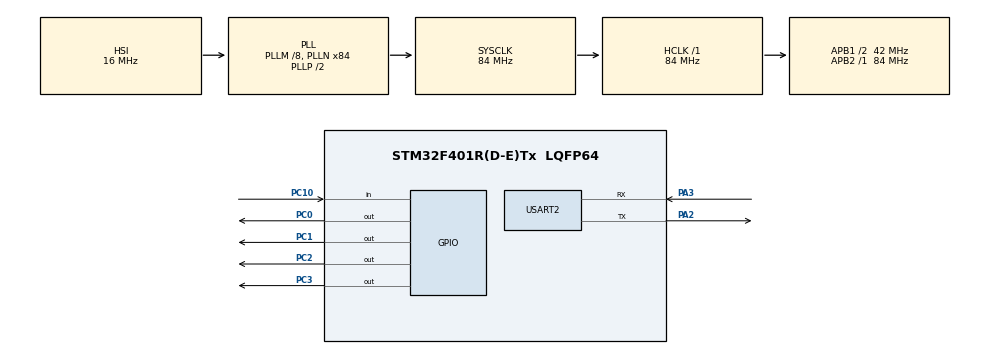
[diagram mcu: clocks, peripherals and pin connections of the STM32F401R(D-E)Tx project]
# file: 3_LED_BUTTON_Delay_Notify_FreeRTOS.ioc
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Mcu.Family=STM32F4
Mcu.Name=STM32F401R(D-E)Tx
Mcu.Package=LQFP64
NVIC.PriorityGroup=NVIC_PRIORITYGROUP_4
NVIC.TIM2_IRQn=true\:15\:0\:false\:false\:true\:false\:true\:true
NVIC.TimeBase=TIM2_IRQn
NVIC.TimeBaseIP=TIM2
PA2.Mode=Asynchronous
PA2.Signal=USART2_TX
PA3.Mode=Asynchronous
PA3.Signal=USART2_RX
PC0.GPIO_Speed=GPIO_SPEED_FREQ_VERY_HIGH
PC0.Signal=GPIO_Output
PC1.GPIO_Speed=GPIO_SPEED_FREQ_VERY_HIGH
PC1.Signal=GPIO_Output
PC10.GPIO_PuPd=GPIO_PULLDOWN
PC10.Signal=GPIO_Input
PC2.GPIO_Speed=GPIO_SPEED_FREQ_VERY_HIGH
PC2.Signal=GPIO_Output
PC3.GPIO_Speed=GPIO_SPEED_FREQ_VERY_HIGH
PC3.Signal=GPIO_Output
ProjectManager.HeapSize=0x200
ProjectManager.StackSize=0x400
ProjectManager.TargetToolchain=STM32CubeIDE
RCC.48MHZClocksFreq_Value=42000000
RCC.AHBFreq_Value=84000000
RCC.APB1CLKDivider=RCC_HCLK_DIV2
RCC.APB1Freq_Value=42000000
RCC.APB1TimFreq_Value=84000000
RCC.APB2Freq_Value=84000000
RCC.APB2TimFreq_Value=84000000
RCC.CortexFreq_Value=84000000
RCC.HCLKFreq_Value=84000000
RCC.HSE_VALUE=25000000
RCC.HSI_VALUE=16000000
RCC.LSE_VALUE=32768
RCC.PLLM=8
RCC.PLLN=84
RCC.SYSCLKFreq_VALUE=84000000
RCC.SYSCLKSource=RCC_SYSCLKSOURCE_PLLCLK
RCC.VCOOutputFreq_Value=168000000
USART2.VirtualMode=VM_ASYNC
VP_SYS_VS_tim2.Mode=TIM2
board=custom

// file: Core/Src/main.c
/* USER CODE BEGIN Header */
/**
  ******************************************************************************
  * @file           : main.c
  * @brief          : Main program body
  ******************************************************************************
  * @attention
  *
  * Copyright (c) 2023 STMicroelectronics.
  * All rights reserved.
  *
  * This software is licensed under terms that can be found in the LICENSE file
  * in the root directory of this software component.
  * If no LICENSE file comes with this software, it is provided AS-IS.
  *
  ******************************************************************************
  */
/* USER CODE END Header */
#include "main.h"

/* USER CODE BEGIN Includes */
#include "FreeRTOS.h"
#include "task.h"
#include "stdio.h"
#include "string.h"
#include "stdbool.h"

/* USER CODE END Includes */

UART_HandleTypeDef huart2;

/* USER CODE BEGIN PV */
TaskHandle_t Task1_Handle;
TaskHandle_t Task2_Handle;
TaskHandle_t Task3_Handle;
TaskHandle_t Button_Control_Handle;
TaskHandle_t volatile next_task_handle = NULL;
#define DWT_CTRL (*(volatile uint32_t*)0xE0001000)
BaseType_t status;
char tx_buffer[50];
/* USER CODE END PV */

void SystemClock_Config(void);
static void MX_GPIO_Init(void);
static void MX_USART2_UART_Init(void);
/* USER CODE BEGIN PFP */
static void Task1_Handler(void *params);
static void Task2_Handler(void *params);
static void Task3_Handler(void *params);
static void Button_Handler(void *params);

/* USER CODE END PFP */

int main(void)
{

  /* MCU Configuration--------------------------------------------------------*/

  /* Reset of all peripherals, Initializes the Flash interface and the Systick. */
  HAL_Init();

  /* Configure the system clock */
  SystemClock_Config();

  /* Initialize all configured peripherals */
  MX_GPIO_Init();
  MX_USART2_UART_Init();
  /* USER CODE BEGIN 2 */

  DWT_CTRL |= (1<<0);

  SEGGER_SYSVIEW_Conf();
  vSetVarulMaxPRIGROUPValue();
  SEGGER_SYSVIEW_Start();

/**********************************PREEMPTIVE IS DISABLED SO CO-OPERATIVE SCHEDULING IS WORKING********************/
status = xTaskCreate(Task1_Handler,"Red Led Task",configMINIMAL_STACK_SIZE,NULL,3,&Task1_Handle);

configASSERT(status == pdPASS); // Check if it is succesfully created
next_task_handle = Task1_Handle;

status = xTaskCreate(Task2_Handler,"Green Led Task",configMINIMAL_STACK_SIZE,NULL,2,&Task2_Handle);

configASSERT(status == pdPASS);  // Check if it is succesfully created

status = xTaskCreate(Task3_Handler,"Blue Leds Task",configMINIMAL_STACK_SIZE,NULL,1,&Task3_Handle);

configASSERT(status == pdPASS); // Check if it is succesfully created

status = xTaskCreate(Button_Handler,"Button Control Task",configMINIMAL_STACK_SIZE,NULL,4,&Button_Control_Handle);

configASSERT(status == pdPASS); // Check if it is succesfully created

vTaskStartScheduler();

  /* USER CODE END 2 */

  /* Infinite loop */
  while (1)
  {

  }
}

void SystemClock_Config(void)
{
  RCC_OscInitTypeDef RCC_OscInitStruct = {0};
  RCC_ClkInitTypeDef RCC_ClkInitStruct = {0};

  /** Configure the main internal regulator output voltage
  */
  __HAL_RCC_PWR_CLK_ENABLE();
  __HAL_PWR_VOLTAGESCALING_CONFIG(PWR_REGULATOR_VOLTAGE_SCALE2);

  /** Initializes the RCC Oscillators according to the specified parameters
  * in the RCC_OscInitTypeDef structure.
  */
  RCC_OscInitStruct.OscillatorType = RCC_OSCILLATORTYPE_HSI;
  RCC_OscInitStruct.HSIState = RCC_HSI_ON;
  RCC_OscInitStruct.HSICalibrationValue = RCC_HSICALIBRATION_DEFAULT;
  RCC_OscInitStruct.PLL.PLLState = RCC_PLL_ON;
  RCC_OscInitStruct.PLL.PLLSource = RCC_PLLSOURCE_HSI;
  RCC_OscInitStruct.PLL.PLLM = 8;
  RCC_OscInitStruct.PLL.PLLN = 84;
  RCC_OscInitStruct.PLL.PLLP = RCC_PLLP_DIV2;
  RCC_OscInitStruct.PLL.PLLQ = 4;
  if (HAL_RCC_OscConfig(&RCC_OscInitStruct) != HAL_OK)
  {
    Error_Handler();
  }

  /** Initializes the CPU, AHB and APB buses clocks
  */
  RCC_ClkInitStruct.ClockType = RCC_CLOCKTYPE_HCLK|RCC_CLOCKTYPE_SYSCLK
                              |RCC_CLOCKTYPE_PCLK1|RCC_CLOCKTYPE_PCLK2;
  RCC_ClkInitStruct.SYSCLKSource = RCC_SYSCLKSOURCE_PLLCLK;
  RCC_ClkInitStruct.AHBCLKDivider = RCC_SYSCLK_DIV1;
  RCC_ClkInitStruct.APB1CLKDivider = RCC_HCLK_DIV2;
  RCC_ClkInitStruct.APB2CLKDivider = RCC_HCLK_DIV1;

  if (HAL_RCC_ClockConfig(&RCC_ClkInitStruct, FLASH_LATENCY_2) != HAL_OK)
  {
    Error_Handler();
  }
}

static void MX_USART2_UART_Init(void)
{

  huart2.Instance = USART2;
  huart2.Init.BaudRate = 115200;
  huart2.Init.WordLength = UART_WORDLENGTH_8B;
  huart2.Init.StopBits = UART_STOPBITS_1;
  huart2.Init.Parity = UART_PARITY_NONE;
  huart2.Init.Mode = UART_MODE_TX_RX;
  huart2.Init.HwFlowCtl = UART_HWCONTROL_NONE;
  huart2.Init.OverSampling = UART_OVERSAMPLING_16;
  if (HAL_UART_Init(&huart2) != HAL_OK)
  {
    Error_Handler();
  }

}

static void MX_GPIO_Init(void)
{
  GPIO_InitTypeDef GPIO_InitStruct = {0};

  /* GPIO Ports Clock Enable */
  __HAL_RCC_GPIOC_CLK_ENABLE();
  __HAL_RCC_GPIOA_CLK_ENABLE();

  /*Configure GPIO pin Output Level */
  HAL_GPIO_WritePin(GPIOC, GPIO_PIN_0|GPIO_PIN_1|GPIO_PIN_2|GPIO_PIN_3, GPIO_PIN_RESET);

  /*Configure GPIO pins : PC0 PC1 PC2 PC3 */
  GPIO_InitStruct.Pin = GPIO_PIN_0|GPIO_PIN_1|GPIO_PIN_2|GPIO_PIN_3;
  GPIO_InitStruct.Mode = GPIO_MODE_OUTPUT_PP;
  GPIO_InitStruct.Pull = GPIO_NOPULL;
  GPIO_InitStruct.Speed = GPIO_SPEED_FREQ_VERY_HIGH;
  HAL_GPIO_Init(GPIOC, &GPIO_InitStruct);

  /*Configure GPIO pin : PC10 */
  GPIO_InitStruct.Pin = GPIO_PIN_10;
  GPIO_InitStruct.Mode = GPIO_MODE_INPUT;
  GPIO_InitStruct.Pull = GPIO_PULLDOWN;
  HAL_GPIO_Init(GPIOC, &GPIO_InitStruct);

}

/* USER CODE BEGIN 4 */
static void Task1_Handler(void *params)
{
    BaseType_t status;

	while(1)
	{
        HAL_UART_Transmit(&huart2,(uint8_t*)tx_buffer,sprintf(tx_buffer,"Toggling Red Button\r\n"),HAL_MAX_DELAY);
        HAL_GPIO_TogglePin(GPIOC, GPIO_PIN_1);
        status = xTaskNotifyWait(0,0,NULL,pdMS_TO_TICKS(1000));
        if(status == pdTRUE)
        {
           vTaskSuspendAll();
           next_task_handle = Task2_Handle;
           xTaskResumeAll();
           HAL_GPIO_WritePin(GPIOC,GPIO_PIN_1,GPIO_PIN_SET);
           vTaskDelete(NULL); // Delete itself

        }

	}

}
static void Task2_Handler(void *params)
{
    BaseType_t status;

	while(1)
	{
        HAL_UART_Transmit(&huart2,(uint8_t*)tx_buffer,sprintf(tx_buffer,"Toggling Green Button\r\n"),HAL_MAX_DELAY);
        HAL_GPIO_TogglePin(GPIOC, GPIO_PIN_0);
        status = xTaskNotifyWait(0,0,NULL,pdMS_TO_TICKS(800));
        if(status == pdTRUE)
        {
           vTaskSuspendAll();
           next_task_handle = Task3_Handle;
           xTaskResumeAll();
           HAL_GPIO_WritePin(GPIOC,GPIO_PIN_0,GPIO_PIN_SET);
           vTaskDelete(NULL); // Delete itself

        }

	}
}
static void Task3_Handler(void *params)
{
    BaseType_t status;

	while(1)
	{
        HAL_UART_Transmit(&huart2,(uint8_t*)tx_buffer,sprintf(tx_buffer,"Toggling Blue Buttons\r\n"),HAL_MAX_DELAY);
        HAL_GPIO_TogglePin(GPIOC, GPIO_PIN_2|GPIO_PIN_3);
        status = xTaskNotifyWait(0,0,NULL,pdMS_TO_TICKS(400));
        if(status == pdTRUE)
        {
           vTaskSuspendAll();
           next_task_handle = NULL;
           xTaskResumeAll();
           HAL_GPIO_WritePin(GPIOC,GPIO_PIN_2|GPIO_PIN_3,GPIO_PIN_SET);
           vTaskDelete(Button_Control_Handle); // Delete Button Task
           vTaskDelete(NULL); // Delete itself

        }

	}
}
static void Button_Handler(void *params)
{
	bool btn_read = false;
	bool prvs_read = false;

	 while(1)
	 {
         btn_read = HAL_GPIO_ReadPin(GPIOC, GPIO_PIN_10);
         if(btn_read)
         {
        	  if(!prvs_read)
        	  {
        		xTaskNotify(next_task_handle,0,eNoAction);
        	  }
         }
         prvs_read = btn_read;
         vTaskDelay(pdMS_TO_TICKS(10));

	 }

}
void vApplicationIdleHook(void)
{
  HAL_PWR_EnterSLEEPMode(PWR_MAINREGULATOR_ON,PWR_SLEEPENTRY_WFI);
}
/* USER CODE END 4 */

void HAL_TIM_PeriodElapsedCallback(TIM_HandleTypeDef *htim)
{
  if (htim->Instance == TIM2) {
    HAL_IncTick();
  }
}

void Error_Handler(void)
{
  __disable_irq();
  while (1)
  {
  }
}
